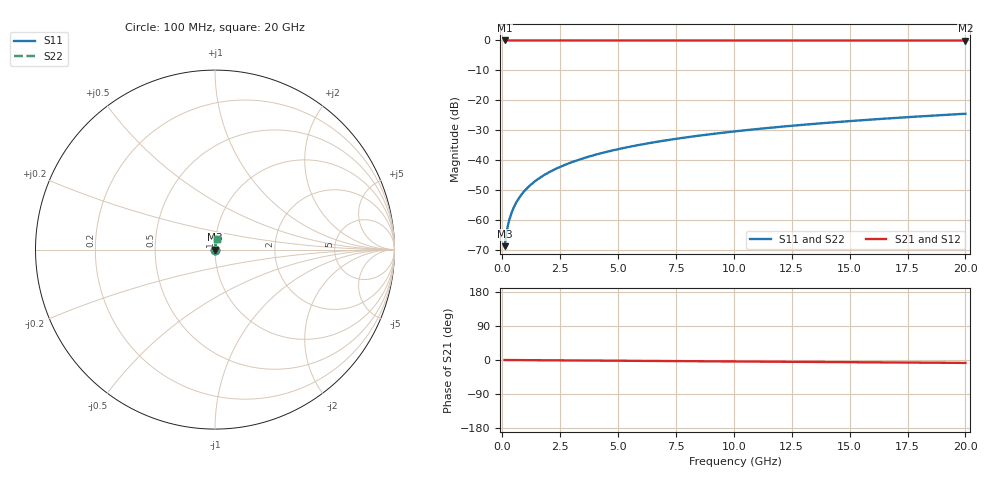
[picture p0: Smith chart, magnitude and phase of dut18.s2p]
! Touchstone file exported from HFSS 2026.1.0
!  File:  C:/ffzhzh/LocalFiles/Ansys_Project_Files/temp_val_TSV_18_1782975071_45748.aedt
!  Generated:  02:52:38 PM Jul  2, 2026
!  Design:  TSV
!  Project:  temp_val_TSV_18_1782975071_45748
! Variables:
!  h_bsmrdl = 2um
!  h_ox = 20um
!  h_rdl = 5um
!  h_sub = 61.23um
!  h_tmrdl = 5um
!  h_tsv = 61.23um
!  h_via = 3um
!  l_bsmrdl = 300um
!  l_sub = 414.78um
!  l_tmrdl = 200um
!  m_sub = 200um
!  pitch = 56.15um
!  r_tsv = 7.39um
!  s_tmrdl = 10um
!  w_bsmrdl = 18um
!  w_sub = 500um
!  w_tmrdl = 12um
!  x_tsv_center1 = 206um
!  x_tsv_center2 = 524um
!  x_tsv_center3 = 736um
!  x_tsv_center4 = 1054um
!  x_tsv_center5 = 1266um
!  x_tsv_center6 = 1584um
# GHz S MA R 50.000000
! Terminal data exported
! Port[1] = TSV1_1_T1
! Port[2] = TSV1_1_T2
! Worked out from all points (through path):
!   200 points, 100 MHz to 20 GHz, reference 50 ohm
!   highest |S21| = 0.00 dB at 100 MHz (marker M1); lowest = 0.0 dB at 20 GHz (marker M2)
!   group delay of S21, straight-line fit = 1.06 ps
!   lowest |S11| = -68.6 dB at 100 MHz (marker M3), VSWR 1.00, Z = 50 + j0.0336 ohm
!   |S11| at or under -10 dB: start of sweep to end of sweep
!   |S22| runs from -68.6 to -24.4 dB; largest |S21 - S12| = 3.2e-15
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0.1  0.000373 64.1  0.9998 -0.0  0.9998 -0.0  0.000373 64.1
! Gamma 0 0 0 0
! Port Impedance 50 0 50 0
0.2  0.0006912 75.6  0.9998 -0.1  0.9998 -0.1  0.0006912 75.6
0.3  0.001017 79.5  0.9998 -0.1  0.9998 -0.1  0.001017 79.5
0.4  0.001343 81.3  0.9998 -0.2  0.9998 -0.2  0.001343 81.3
0.5  0.001665 82.3  0.9998 -0.2  0.9998 -0.2  0.001665 82.3
0.6  0.001984 83.0  0.9998 -0.2  0.9998 -0.2  0.001984 83.0
0.7  0.0023 83.4  0.9997 -0.3  0.9997 -0.3  0.0023 83.4
0.8  0.002614 83.8  0.9997 -0.3  0.9997 -0.3  0.002614 83.8
1  0.003235 84.3  0.9997 -0.4  0.9997 -0.4  0.003235 84.3
1.4  0.004465 85.0  0.9996 -0.6  0.9996 -0.6  0.004465 85.0
1.7  0.005383 85.3  0.9996 -0.7  0.9996 -0.7  0.005383 85.3
2  0.006301 85.5  0.9996 -0.8  0.9996 -0.8  0.006301 85.5
2.7  0.008438 85.8  0.9995 -1.1  0.9995 -1.1  0.008438 85.8
3.5  0.01087 85.9  0.9994 -1.4  0.9994 -1.4  0.01087 85.9
4.2  0.013 85.9  0.9994 -1.6  0.9994 -1.6  0.013 85.9
5  0.01542 85.8  0.9993 -1.9  0.9993 -1.9  0.01542 85.8
6.8  0.02084 85.4  0.9991 -2.6  0.9991 -2.6  0.02084 85.4
8.3  0.02534 85.0  0.9989 -3.2  0.9989 -3.2  0.02534 85.0
10.1  0.03072 84.5  0.9986 -3.9  0.9986 -3.9  0.03072 84.5
13.4  0.04054 83.4  0.9982 -5.2  0.9982 -5.2  0.04054 83.4
16.7  0.05032 82.3  0.9976 -6.4  0.9976 -6.4  0.05032 82.3
20  0.06003 81.1  0.997 -7.7  0.997 -7.7  0.06003 81.1
